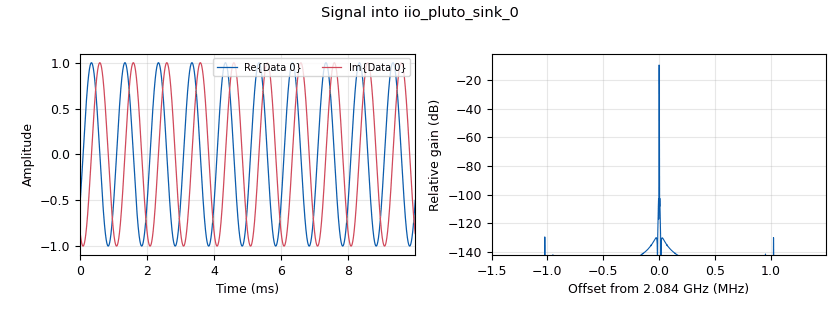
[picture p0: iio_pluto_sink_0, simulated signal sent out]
options:
  parameters:
    author: Anton Janovsky (ZR6AIC)
    description: Pluto TX
    generate_options: qt_gui
    id: Pluto_tx_test
    output_language: python
    title: Pluto TX Test
  states: {}

blocks:
- name: samp_rate
  id: variable
  parameters:
    value: '3000000'
  states: {}
- name: variable_qtgui_range_0
  id: variable_qtgui_range
  parameters:
    orient: Qt.Horizontal
    start: '2084000000'
    step: '1000'
    stop: '2084100000'
    value: '2084000000'
  states: {}
- name: analog_sig_source_x_0
  id: analog_sig_source_x
  parameters:
    amp: '1'
    freq: '1000'
    offset: '0'
    phase: '0'
    samp_rate: samp_rate
    type: complex
    waveform: analog.GR_COS_WAVE
  states: {}
- name: iio_pluto_sink_0
  id: iio_pluto_sink
  parameters:
    attenuation1: '0.0'
    auto_filter: 'True'
    bandwidth: '20000000'
    buffer_size: '32768'
    cyclic: 'False'
    frequency: '2084000000'
    samplerate: samp_rate
    uri: ip:pluto.local
  states: {}
- name: iio_pluto_source_0
  id: iio_pluto_source
  parameters:
    auto_filter: 'True'
    bandwidth: '20000000'
    bbdc: 'True'
    buffer_size: '32768'
    frequency: '2084000000'
    gain1: '''manual'''
    manual_gain1: '64'
    quadrature: 'True'
    rfdc: 'True'
    samplerate: samp_rate
    uri: ip:pluto.local
  states: {}
- name: qtgui_freq_sink_x_0
  id: qtgui_freq_sink_x
  parameters:
    bw: '2000000'
    fc: '0'
    fftsize: '1024'
    type: complex
    wintype: firdes.WIN_BLACKMAN_hARRIS
  states: {}

connections:
- [analog_sig_source_x_0, '0', iio_pluto_sink_0, '0']
- [iio_pluto_source_0, '0', qtgui_freq_sink_x_0, '0']

metadata:
  file_format: 1
